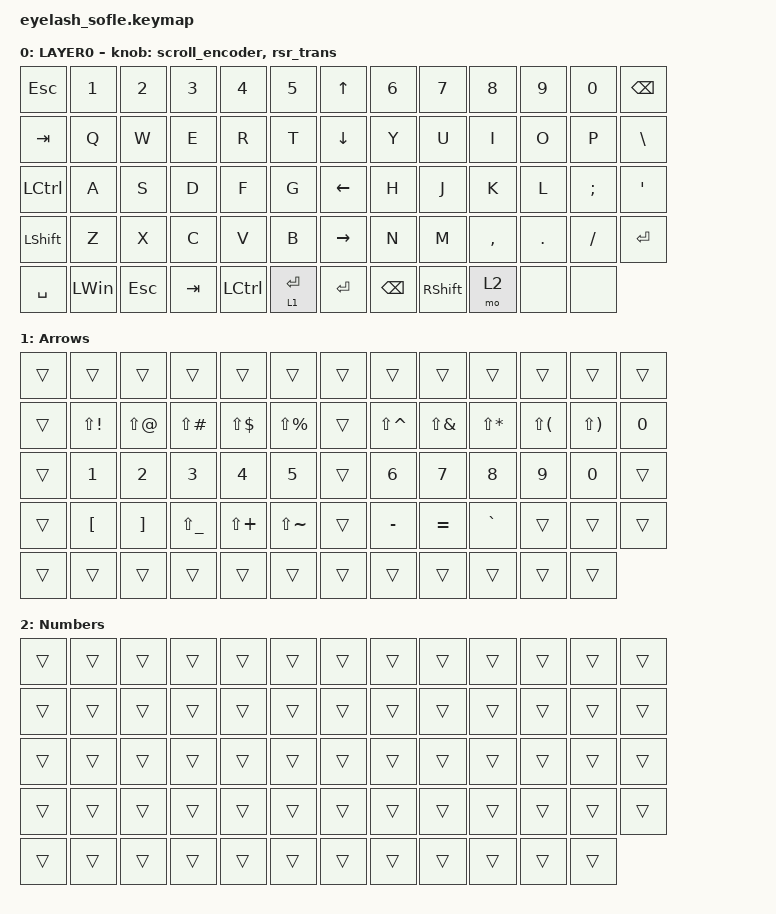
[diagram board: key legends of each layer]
#define ZMK_POINTING_DEFAULT_MOVE_VAL 1200  // 600
#define ZMK_POINTING_DEFAULT_SCRL_VAL 25   // 10

#include <input/processors.dtsi>
#include <zephyr/dt-bindings/input/input-event-codes.h>
#include <behaviors/runtime-sensor-rotate.dtsi>
#include <behaviors.dtsi>
#include <dt-bindings/zmk/keys.h>
#include <dt-bindings/zmk/pointing.h>

&mmv_input_listener { input-processors = <&zip_xy_scaler 2 1>; };

&msc_input_listener { input-processors = <&zip_scroll_scaler 2 1>; };

&msc {
    acceleration-exponent = <1>;      // 0
    time-to-max-speed-ms = <100>;       // 300
    delay-ms = <0>;                   // 0
};

&mmv {
    time-to-max-speed-ms = <500>;
    acceleration-exponent = <1>;
    trigger-period-ms = <16>;
};

&soft_off { hold-time-ms = <2000>; };

/ {
    scroll_encoder: scroll_encoder {
        compatible = "zmk,behavior-sensor-rotate";
        #sensor-binding-cells = <0>;
        bindings = <&msc SCRL_DOWN>, <&msc SCRL_UP>;

        tap-ms = <100>;
    };

    behaviors {
        rsr_vol: rsr_vol {
            compatible = "zmk,behavior-runtime-sensor-rotate";
            #sensor-binding-cells = <0>;
            tap-ms = <5>;
            cw-binding = <&kp C_VOL_UP>;
            ccw-binding = <&kp C_VOL_DN>;
        };

        rsr_trans: rsr_trans {
            compatible = "zmk,behavior-runtime-sensor-rotate";
            #sensor-binding-cells = <0>;
            tap-ms = <0>;
        };
    };

    combos {
        compatible = "zmk,combos";

        softoff {
            bindings = <&soft_off>;
            key-positions = <14 28 40>;
        };
    };

    macros {
        SHIFT_MCLK: SHIFT_MCLK {
            compatible = "zmk,behavior-macro";
            #binding-cells = <0>;
            bindings =
                <&macro_press>,
                <&kp LEFT_SHIFT>,
                <&macro_press>,
                <&mkp MB3>,
                <&macro_pause_for_release>,
                <&macro_release>,
                <&kp LEFT_SHIFT &mkp MB3>;

            label = "SHIFT_MCLK";
        };
    };

    keymap {
        compatible = "zmk,keymap";

        layer0 {
            bindings = <
&kp ESC    &kp N1        &kp N2      &kp N3   &kp N4     &kp N5         &kp UP_ARROW     &kp N6         &kp N7           &kp N8     &kp N9   &kp N0    &kp BACKSPACE
&kp TAB    &kp Q         &kp W       &kp E    &kp R      &kp T          &kp DOWN_ARROW   &kp Y          &kp U            &kp I      &kp O    &kp P     &kp BSLH
&kp LCTRL  &kp A         &kp S       &kp D    &kp F      &kp G          &kp LEFT_ARROW   &kp H          &kp J            &kp K      &kp L    &kp SEMI  &kp APOS
&kp LSHFT  &kp Z         &kp X       &kp C    &kp V      &kp B          &kp RIGHT_ARROW  &kp N          &kp M            &kp COMMA  &kp DOT  &kp FSLH  &kp ENTER
&kp SPACE  &kp LEFT_WIN  &kp ESCAPE  &kp TAB  &kp LCTRL  &lt 1 ENTER    &kp ENTER        &kp BACKSPACE  &kp RIGHT_SHIFT  &mo 2      &none    &none
            >;

            sensor-bindings = <&scroll_encoder>, <&rsr_trans>;

            display-name = "LAYER0";
        };

        Arrows {
            bindings = <
&trans  &trans        &trans      &trans         &trans        &trans           &trans  &trans         &trans        &trans        &trans        &trans        &trans
&trans  &kp LS(EXCL)  &kp LS(AT)  &kp LS(POUND)  &kp LS(DLLR)  &kp LS(PRCNT)    &trans  &kp LS(CARET)  &kp LS(AMPS)  &kp LS(STAR)  &kp LS(LPAR)  &kp LS(RPAR)  &kp N0
&trans  &kp NUMBER_1  &kp N2      &kp N3         &kp N4        &kp N5           &trans  &kp N6         &kp N7        &kp N8        &kp N9        &kp N0        &trans
&trans  &kp LBKT      &kp RBKT    &kp LS(UNDER)  &kp LS(PLUS)  &kp LS(TILDE)    &trans  &kp MINUS      &kp EQUAL     &kp GRAVE     &trans        &trans        &trans
&trans  &trans        &trans      &trans         &trans        &trans           &trans  &trans         &trans        &trans        &trans        &trans
            >;
        };

        Numbers {
            bindings = <
&trans  &trans  &trans  &trans  &trans  &trans    &trans  &trans  &trans  &trans  &trans  &trans  &trans
&trans  &trans  &trans  &trans  &trans  &trans    &trans  &trans  &trans  &trans  &trans  &trans  &trans
&trans  &trans  &trans  &trans  &trans  &trans    &trans  &trans  &trans  &trans  &trans  &trans  &trans
&trans  &trans  &trans  &trans  &trans  &trans    &trans  &trans  &trans  &trans  &trans  &trans  &trans
&trans  &trans  &trans  &trans  &trans  &trans    &trans  &trans  &trans  &trans  &trans  &trans
            >;
        };
    };
};
